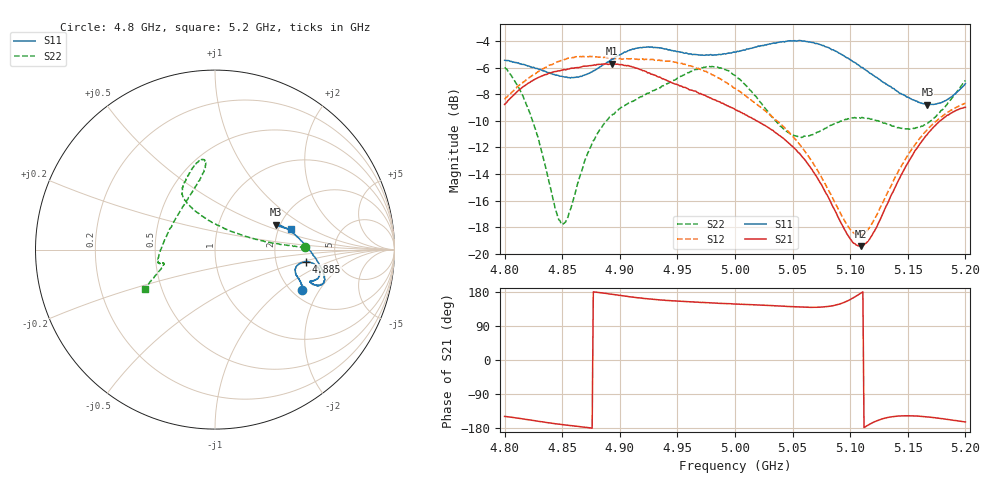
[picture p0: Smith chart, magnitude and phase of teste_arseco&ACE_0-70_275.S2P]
! Network Analyzer HP8722D
! Hewlett-Packard
! Data name: Linha & Wilkinson
! Saver's name: Rodrigo Anjos
! Comments: Teste da utilização de aquisição
! continua pelo VNA HP8722D
! Time and date: 8/5/2025 15:03
!  Frequency  S11  S21  S12  S22
# HZ  S  MA R 50
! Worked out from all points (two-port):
!   401 points, 4.8 GHz to 5.2 GHz, reference 50 ohm
!   highest |S21| = -5.68 dB at 4.893 GHz (marker M1); lowest = -19.4 dB at 5.109 GHz (marker M2)
!   |S21| within 3 dB of the highest: 4.801 GHz to 4.989 GHz (188.5 MHz wide, 3.85 % of centre)
!   lowest |S11| = -8.8 dB at 5.167 GHz (marker M3), VSWR 2.15, Z = 94.5 + j30.2 ohm
!   |S11| at or under -10 dB: nowhere
!   |S22| runs from -17.8 to -5.9 dB; largest |S21 - S12| = 1.1
!   S11 on the Smith chart (normalised r, x): 4.8 GHz: 2.25, -1.43; 4.885 GHz: 3.00, -0.55; 5.2 GHz: 2.34, +0.65
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4.8e9  0.5352 -25.1  0.3647 -148.9  0.3815 10.6  0.5032 1.4
4.812e9  0.5235 -22.1  0.4116 -153.8  0.4284 8.7  0.4233 2.7
4.823e9  0.5044 -20.2  0.4455 -158.7  0.4655 7.3  0.3283 6.3
4.845e9  0.4704 -16.6  0.4859 -168.5  0.526 3.8  0.1431 42.3
4.849e9  0.4663 -15.8  0.4904 -170.0  0.5338 3.0  0.13 59.3
4.855e9  0.46 -14.2  0.4959 -172.4  0.5449 2.1  0.1374 85.3
4.867e9  0.4654 -10.9  0.5057 -176.4  0.5518 0.4  0.2053 112.2
4.885e9  0.5135 -7.6  0.5172 177.0  0.55 -0.9  0.3027 121.0
4.893e9  0.5394 -7.7  0.5201 173.6  0.5443 -0.9  0.3322 121.7
4.913e9  0.5914 -11.0  0.5017 165.2  0.5405 -0.4  0.3786 118.6
4.934e9  0.596 -15.6  0.4626 158.6  0.5369 -1.4  0.4212 112.6
4.975e9  0.5605 -18.7  0.3925 151.3  0.4861 -5.4  0.5054 99.0
5e9  0.5736 -19.5  0.3496 147.7  0.4203 -5.3  0.4694 96.7
5.044e9  0.6303 -17.5  0.2669 141.6  0.2949 2.9  0.2908 131.2
5.067e9  0.6242 -13.4  0.207 139.0  0.2223 9.5  0.2804 164.5
5.098e9  0.5456 -2.7  0.1174 156.5  0.127 37.3  0.3226 -170.4
5.109e9  0.5055 2.2  0.1067 175.9  0.1175 58.9  0.3238 -167.3
5.119e9  0.4735 7.4  0.1175 -166.0  0.1299 78.3  0.3209 -166.1
5.134e9  0.4275 14.5  0.1602 -150.8  0.1752 94.7  0.3054 -165.7
5.167e9  0.3645 22.4  0.2815 -150.3  0.2935 102.4  0.3094 -161.3
5.183e9  0.3773 20.3  0.3284 -156.2  0.3376 102.4  0.3602 -156.6
5.2e9  0.4367 14.9  0.3554 -163.5  0.3688 102.9  0.4489 -150.6
